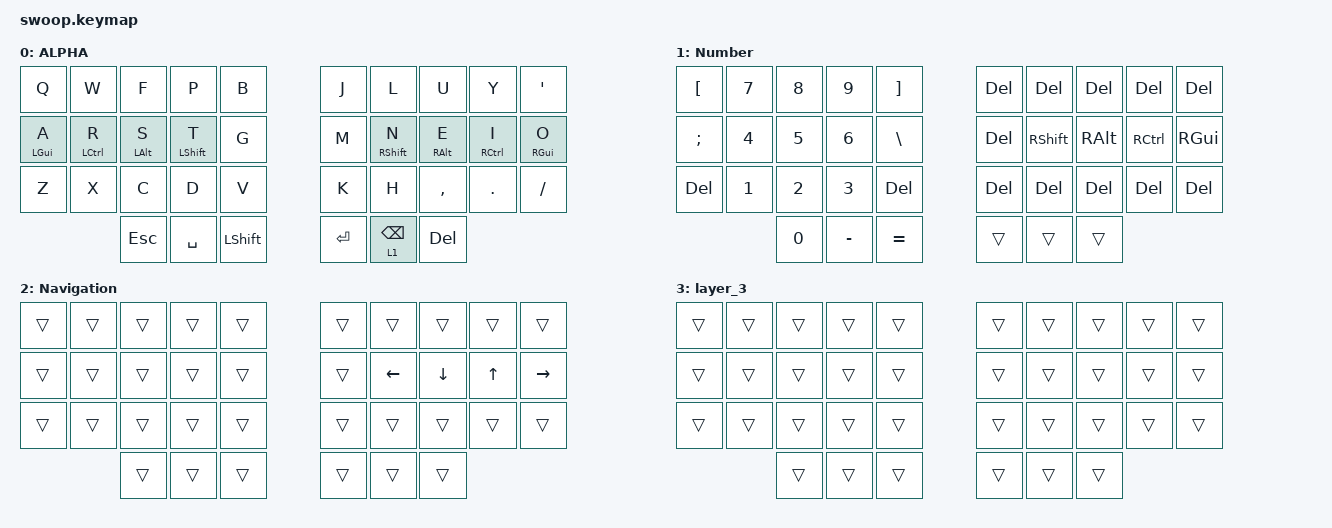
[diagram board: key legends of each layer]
#include <behaviors.dtsi>
#include <dt-bindings/zmk/keys.h>

/ {
    keymap {
        compatible = "zmk,keymap";

        ALPHA {
            bindings = <
&kp Q           &kp W               &kp F           &kp P             &kp B        &kp J      &kp L              &kp U            &kp Y                &kp SQT
&mt LEFT_GUI A  &mt LEFT_CONTROL R  &mt LEFT_ALT S  &mt LEFT_SHIFT T  &kp G        &kp M      &mt RIGHT_SHIFT N  &mt RIGHT_ALT E  &mt RIGHT_CONTROL I  &mt RIGHT_GUI O
&kp Z           &kp X               &kp C           &kp D             &kp V        &kp K      &kp H              &kp COMMA        &kp DOT              &kp FSLH
                                    &kp ESCAPE      &kp SPACE         &kp LSHFT    &kp ENTER  &lt 1 BACKSPACE    &kp DELETE
            >;
        };

        Number {
            bindings = <
&kp LEFT_BRACKET  &kp N7  &kp N8  &kp N9     &kp RIGHT_BRACKET    &kp DEL  &kp DEL    &kp DEL   &kp DEL    &kp DEL
&kp SEMICOLON     &kp N4  &kp N5  &kp N6     &kp BACKSLASH        &kp DEL  &kp RSHFT  &kp RALT  &kp RCTRL  &kp RGUI
&kp DEL           &kp N1  &kp N2  &kp N3     &kp DEL              &kp DEL  &kp DEL    &kp DEL   &kp DEL    &kp DEL
                          &kp N0  &kp MINUS  &kp EQUAL            &trans   &trans     &trans
            >;
        };

        Navigation {
            bindings = <
&trans  &trans  &trans  &trans  &trans    &trans  &trans    &trans    &trans  &trans
&trans  &trans  &trans  &trans  &trans    &trans  &kp LEFT  &kp DOWN  &kp UP  &kp RIGHT
&trans  &trans  &trans  &trans  &trans    &trans  &trans    &trans    &trans  &trans
                &trans  &trans  &trans    &trans  &trans    &trans
            >;
        };

        layer_3 {
            bindings = <
&trans  &trans  &trans  &trans  &trans    &trans  &trans  &trans  &trans  &trans
&trans  &trans  &trans  &trans  &trans    &trans  &trans  &trans  &trans  &trans
&trans  &trans  &trans  &trans  &trans    &trans  &trans  &trans  &trans  &trans
                &trans  &trans  &trans    &trans  &trans  &trans
            >;
        };
    };
};
